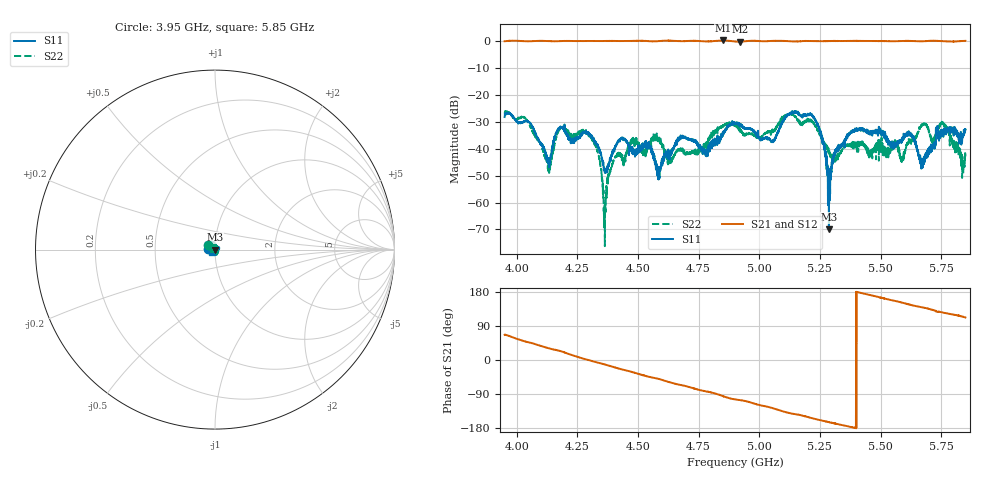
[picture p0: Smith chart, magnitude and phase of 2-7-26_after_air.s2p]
# GHZ S RI R 50.000000000000
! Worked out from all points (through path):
!   4501 points, 3.95 GHz to 5.85 GHz, reference 50 ohm
!   highest |S21| = 0.08 dB at 4.851 GHz (marker M1); lowest = -0.3 dB at 4.922 GHz (marker M2)
!   group delay of S21, straight-line fit = 454 ps
!   lowest |S11| = -69.9 dB at 5.287 GHz (marker M3), VSWR 1.00, Z = 50 + j0.0227 ohm
!   |S11| at or under -10 dB: start of sweep to end of sweep
!   |S22| runs from -76.2 to -26.0 dB; largest |S21 - S12| = 0.077
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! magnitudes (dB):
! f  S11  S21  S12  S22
! 3.95 GHz  -28.3  -0.2  -0.2  -27.0
! 4.132 GHz  -45.7  -0.1  -0.1  -48.0
! 4.18 GHz  -31.9  -0.1  -0.2  -32.2
! 4.267 GHz  -35.3  -0.1  -0.1  -33.9
! 4.331 GHz  -38.7  -0.1  -0.1  -40.2
! 4.364 GHz  -48.6  -0.1  -0.1  -63.9
! 4.41 GHz  -38.8  -0.1  -0.1  -42.6
! 4.539 GHz  -38.3  -0.1  -0.1  -39.8
! 4.584 GHz  -49.6  -0.2  -0.2  -36.2
! 4.632 GHz  -41.4  0.0  0.0  -44.4
! 4.851 GHz  -34.3  0.1  0.1  -31.3
! 4.9 GHz  -30.6  -0.3  -0.2  -31.2
! 4.922 GHz  -31.4  -0.3  -0.3  -33.0
! 5.054 GHz  -37.4  -0.1  -0.1  -33.6
! 5.217 GHz  -27.3  -0.1  -0.1  -29.6
! 5.287 GHz  -69.9  -0.2  -0.1  -41.7
! 5.38 GHz  -33.6  -0.1  -0.1  -38.4
! 5.534 GHz  -37.4  -0.2  -0.1  -40.5
! 5.622 GHz  -34.6  -0.1  -0.1  -36.9
! 5.674 GHz  -44.7  -0.2  -0.2  -31.2
! 5.755 GHz  -33.8  -0.2  -0.2  -30.5
! 5.85 GHz  -32.8  -0.1  0.0  -40.8
